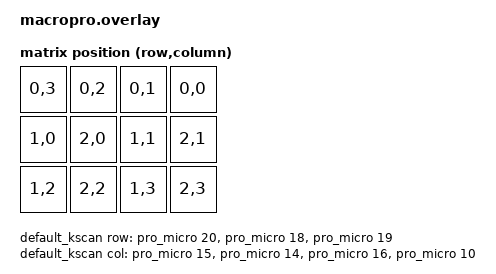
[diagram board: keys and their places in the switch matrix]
#include <dt-bindings/zmk/matrix_transform.h>
#include <dt-bindings/zmk/matrix_transform.h>

#include "macropro.dtsi"

&left_encoder {
    status = "okay";
};

&right_encoder {
    status = "okay";
};

/ {
    chosen {
        zmk,kscan = &default_kscan;
    };

    default_kscan: kscan {
        compatible = "zmk,kscan-gpio-matrix";
        label = "default_kscan";
        diode-direction = "col2row";

        row-gpios = <&pro_micro 20 (GPIO_ACTIVE_HIGH | GPIO_PULL_DOWN)>,
                    <&pro_micro 18 (GPIO_ACTIVE_HIGH | GPIO_PULL_DOWN)>,
                    <&pro_micro 19 (GPIO_ACTIVE_HIGH | GPIO_PULL_DOWN)>;

        col-gpios = <&pro_micro 15 GPIO_ACTIVE_HIGH>,
                    <&pro_micro 14 GPIO_ACTIVE_HIGH>,
                    <&pro_micro 16 GPIO_ACTIVE_HIGH>,
                    <&pro_micro 10 GPIO_ACTIVE_HIGH>;
    };

    default_transform: matrix_transform {
        compatible = "zmk,matrix-transform";
        rows = <3>;
        columns = <4>;

        map = <
            RC(0,3) RC(0,2) RC(0,1) RC(0,0)
            RC(1,0) RC(2,0) RC(1,1) RC(2,1)
            RC(1,2) RC(2,2) RC(1,3) RC(2,3)
        >;
    };
};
